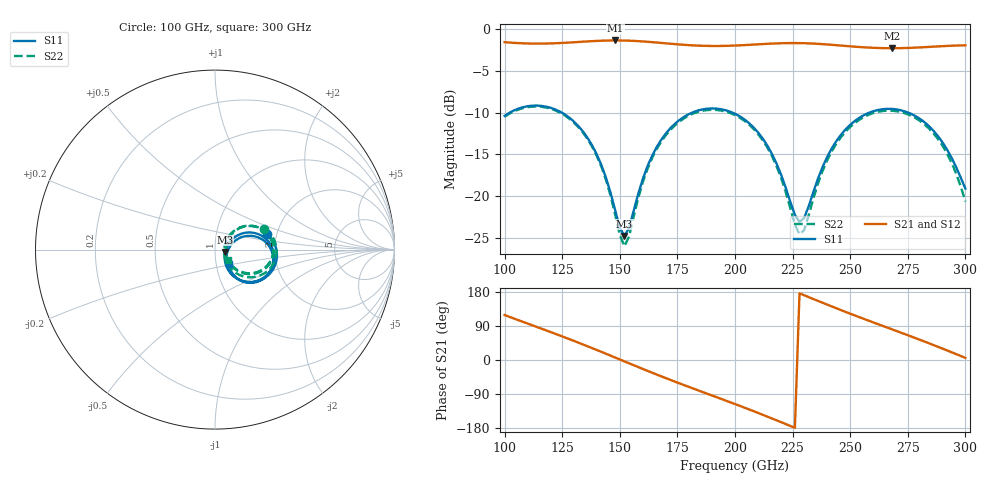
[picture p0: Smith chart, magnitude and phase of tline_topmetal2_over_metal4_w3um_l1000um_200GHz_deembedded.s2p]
! Created with skrf 2.0.1 (http://scikit-rf.org).
# GHz S DB R 50.0
!freq dBS11 angS11 dBS21 angS21 dBS12 angS12 dBS22 angS22
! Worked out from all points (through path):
!   101 points, 100 GHz to 300 GHz, reference 50 ohm
!   highest |S21| = -1.38 dB at 148 GHz (marker M1); lowest = -2.3 dB at 268 GHz (marker M2)
!   group delay of S21, straight-line fit = 6.59 ps
!   lowest |S11| = -24.8 dB at 152 GHz (marker M3), VSWR 1.12, Z = 55.9 - j1.41 ohm
!   |S11| at or under -10 dB: 124.7 GHz to 181.5 GHz (56.84 GHz wide, 37.1 % of centre); 198.8 GHz to 258.5 GHz (59.72 GHz wide, 26.1 % of centre); 275 GHz to end of sweep (the widest 3 of 4)
!   |S22| runs from -26.0 to -9.3 dB; largest |S21 - S12| = 9.8e-14
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100  -10.40 16.9  -1.59 118.7  -1.59 118.7  -10.51 23.2
108  -9.36 1.5  -1.72 100.6  -1.72 100.6  -9.47 8.2
118  -9.30 -17.8  -1.75 78.2  -1.75 78.2  -9.41 -10.7
134  -12.27 -47.3  -1.53 41.1  -1.53 41.1  -12.40 -39.9
142  -16.29 -57.0  -1.41 21.5  -1.41 21.5  -16.49 -50.1
148  -21.70 -48.4  -1.38 6.5  -1.38 6.5  -22.24 -42.8
152  -24.78 -12.6  -1.39 -3.6  -1.39 -3.6  -25.99 -3.9
162  -16.44 32.3  -1.54 -28.5  -1.54 -28.5  -16.75 44.9
168  -13.25 26.1  -1.68 -43.1  -1.68 -43.1  -13.47 38.4
184  -9.76 -1.5  -2.00 -80.1  -2.00 -80.1  -9.92 10.6
200  -10.15 -30.8  -1.99 -116.3  -1.99 -116.3  -10.31 -18.6
216  -14.93 -54.5  -1.76 -154.2  -1.76 -154.2  -15.19 -43.3
228  -23.09 -18.0  -1.70 175.9  -1.70 175.9  -24.59 -5.3
230  -22.63 -0.1  -1.71 170.9  -1.71 170.9  -24.06 16.3
234  -19.52 20.7  -1.75 160.9  -1.75 160.9  -20.31 39.4
240  -15.32 24.8  -1.86 146.2  -1.86 146.2  -15.72 42.6
248  -12.02 15.7  -2.04 127.0  -2.04 127.0  -12.29 32.7
258  -10.05 -0.8  -2.23 103.9  -2.23 103.9  -10.27 15.7
268  -9.57 -18.3  -2.31 81.3  -2.31 81.3  -9.78 -2.3
286  -12.14 -47.4  -2.13 39.8  -2.13 39.8  -12.45 -33.5
294  -15.41 -53.9  -2.01 20.5  -2.01 20.5  -16.00 -42.8
300  -19.11 -45.9  -1.97 5.6  -1.97 5.6  -20.65 -37.7
